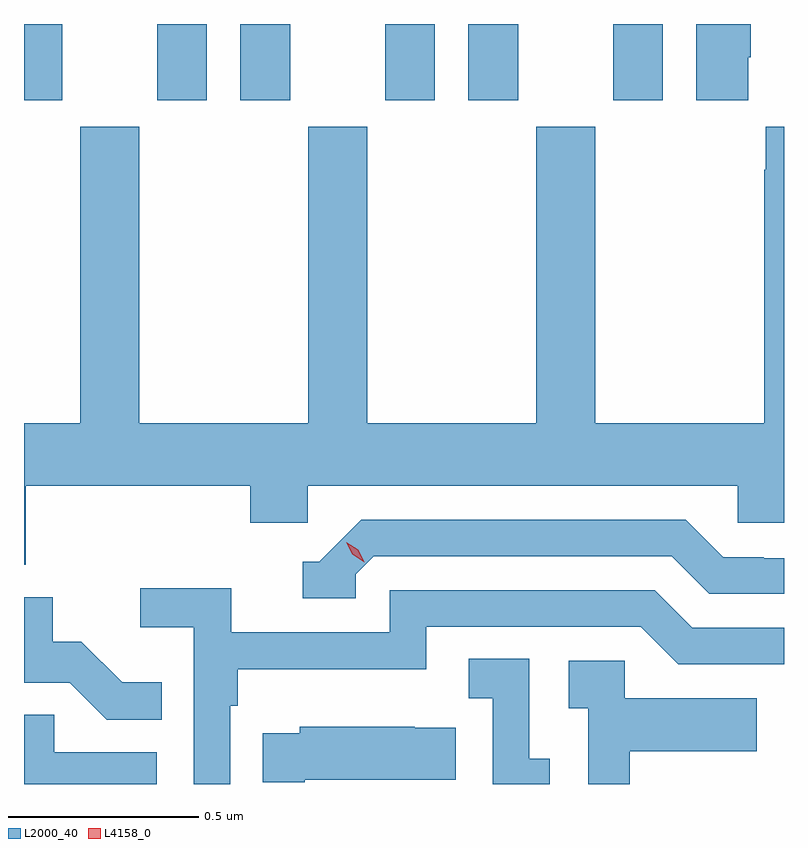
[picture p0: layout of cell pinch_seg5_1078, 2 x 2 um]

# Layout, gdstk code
import gdstk
lib = gdstk.Library(unit=1e-6, precision=1e-09)
def R(c, l, rs):  # rectangles x0, y0, x1, y1
    for r in rs: c.add(gdstk.rectangle(r[:2], r[2:], *l))
def P(c, l, *ps):  # polygons
    for p in ps: c.add(gdstk.Polygon(p, *l))
L2000_40 = (2000, 40)
L4158_0 = (4158, 0)

pinch_seg5_1078 = lib.new_cell('pinch_seg5_1078')
R(pinch_seg5_1078, L2000_40, [(832.485,861.771,832.585,861.971), (832.835,861.771,832.966,861.971), (833.054,861.771,833.185,861.971), (833.435,861.771,833.566,861.971), (833.654,861.771,833.785,861.971), (834.035,861.771,834.166,861.971)])
P(pinch_seg5_1078, L2000_40, [(834.391,861.883),(834.398,861.883),(834.398,861.971),(834.254,861.971),(834.254,861.771),(834.391,861.771)],
  [(832.485,860.548),(832.49,860.548),(832.49,860.756),(833.081,860.756),(833.081,860.658),(833.232,860.658),(833.232,860.756),(834.363,860.756),(834.363,860.658),(834.485,860.658),(834.485,861.7),(834.437,861.7),(834.437,861.587),(834.433,861.587),(834.433,860.92),(833.988,860.92),(833.988,861.7),(833.833,861.7),(833.833,860.92),(833.388,860.92),(833.388,861.7),(833.233,861.7),(833.233,860.92),(832.788,860.92),(832.788,861.7),(832.633,861.7),(832.633,860.92),(832.485,860.92)],
  [(833.358,860.523),(833.406,860.571),(834.189,860.571),(834.288,860.472),(834.485,860.472),(834.485,860.565),(834.432,860.565),(834.432,860.568),(834.325,860.568),(834.226,860.667),(833.373,860.667),(833.262,860.556),(833.219,860.556),(833.219,860.46),(833.358,860.46)],
  [(833.028,860.177),(833.048,860.177),(833.048,860.273),(833.544,860.273),(833.544,860.385),(834.108,860.385),(834.207,860.286),(834.485,860.286),(834.485,860.382),(834.244,860.382),(834.145,860.481),(833.448,860.481),(833.448,860.37),(833.03,860.37),(833.03,860.486),(832.791,860.486),(832.791,860.384),(832.932,860.384),(832.932,859.971),(833.028,859.971)],
  [(832.847,860.239),(832.743,860.239),(832.636,860.346),(832.56,860.346),(832.56,860.463),(832.485,860.463),(832.485,860.238),(832.605,860.238),(832.703,860.14),(832.847,860.14)],
  [(833.869,860.037),(833.814,860.037),(833.814,860.3),(833.655,860.3),(833.655,860.197),(833.718,860.197),(833.718,859.971),(833.869,859.971)],
  [(834.079,860.057),(834.413,860.057),(834.413,860.197),(834.066,860.197),(834.066,860.295),(833.919,860.295),(833.919,860.171),(833.97,860.171),(833.97,859.971),(834.079,859.971)],
  [(832.834,860.055),(832.565,860.055),(832.565,860.153),(832.485,860.153),(832.485,859.971),(832.834,859.971)],
  [(833.224,859.982),(833.621,859.982),(833.621,860.119),(833.513,860.119),(833.513,860.122),(833.211,860.122),(833.211,860.104),(833.113,860.104),(833.113,859.975),(833.224,859.975)])
P(pinch_seg5_1078, L4158_0, [(833.38,860.555),(833.349,860.575),(833.333,860.607),(833.333,860.607),(833.333,860.607),(833.364,860.588),(833.38,860.556),(833.38,860.555)])

lib.write_gds('pinch_seg5_1078.gds')
